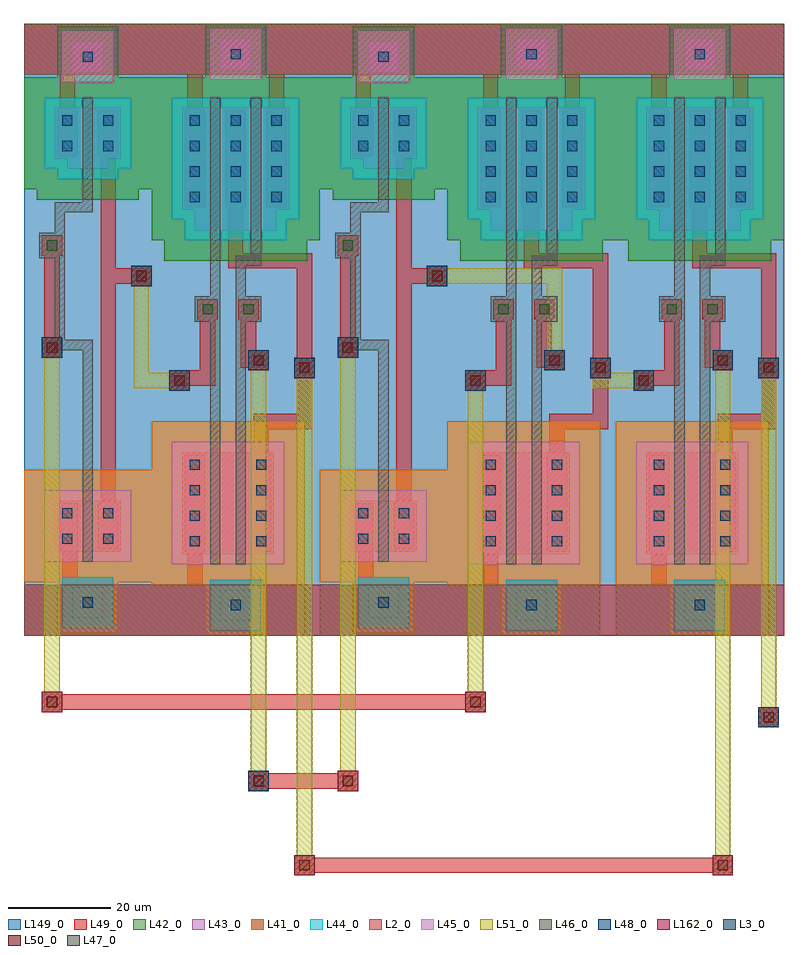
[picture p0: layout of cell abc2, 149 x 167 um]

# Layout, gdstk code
import gdstk
lib = gdstk.Library(unit=1e-6, precision=1e-09)
def R(c, l, rs):  # rectangles x0, y0, x1, y1
    for r in rs: c.add(gdstk.rectangle(r[:2], r[2:], *l))
def A(c, l, x, y, w, h, nx, ny, dx, dy):  # array of equal rectangles
    R(c, l, [(x+i*dx, y+j*dy, x+i*dx+w, y+j*dy+h) for i in range(nx) for j in range(ny)])
def P(c, l, *ps):  # polygons
    for p in ps: c.add(gdstk.Polygon(p, *l))
L2_0 = (2, 0)
L3_0 = (3, 0)
L41_0 = (41, 0)
L42_0 = (42, 0)
L43_0 = (43, 0)
L44_0 = (44, 0)
L45_0 = (45, 0)
L46_0 = (46, 0)
L47_0 = (47, 0)
L48_0 = (48, 0)
L49_0 = (49, 0)
L50_0 = (50, 0)
L51_0 = (51, 0)
L149_0 = (149, 0)
L162_0 = (162, 0)

via = lib.new_cell('via')
R(via, L49_0, [(-2,-2,2,2)])
R(via, L50_0, [(-1,-1,1,1)])
R(via, L51_0, [(-2,-2,2,2)])

nand2 = lib.new_cell('nand2')
R(nand2, L2_0, [(0,0,30,10), (0,110,33,120)])
R(nand2, L3_0, [(3.5,48,7.5,52), (28,50.5,32,54.5), (19,52,23,56)])
R(nand2, L41_0, [(10.5,0,22.5,12), (0,10,30,42)])
R(nand2, L42_0, [(10.5,108,22.5,120)])
P(nand2, L42_0, [(30.5,73.5),(30.5,77.5),(33,77.5),(33,109.5),(0,109.5),(0,77.5),(2.5,77.5),(2.5,73.5)])
R(nand2, L43_0, [(13.5,3,19.5,9), (6,16,11.5,36), (6,16,24,36), (18.5,16,24,36), (13.5,111,19.5,117)])
P(nand2, L43_0, [(11.5,79.5),(11.5,103.5),(6,103.5),(6,83.5),(8.5,83.5),(8.5,79.5)],
  [(24.5,79.5),(24.5,83.5),(27,83.5),(27,103.5),(6,103.5),(6,83.5),(8.5,83.5),(8.5,79.5)],
  [(24.5,79.5),(24.5,83.5),(27,83.5),(27,103.5),(21.5,103.5),(21.5,79.5)])
R(nand2, L44_0, [(11.5,1,21.5,11)])
P(nand2, L44_0, [(26.5,77.5),(26.5,81.5),(29,81.5),(29,105.5),(4,105.5),(4,81.5),(6.5,81.5),(6.5,77.5)])
R(nand2, L45_0, [(4,14,26,38), (11.5,109,21.5,119)])
R(nand2, L46_0, [(11.5,14,13.5,16), (16.5,14,18.5,16), (11.5,16,13.5,36), (16.5,16,18.5,36), (11.5,36,13.5,38), (16.5,36,18.5,38), (8.5,61.5,13.5,66.5), (16.5,61.5,21.5,66.5), (11.5,77.5,13.5,79.5), (19.5,77.5,21.5,79.5), (11.5,79.5,13.5,103.5), (19.5,79.5,21.5,103.5), (11.5,103.5,13.5,105.5), (19.5,103.5,21.5,105.5)])
R(nand2, L47_0, [(10,63,12,65), (18,63,20,65)])
A(nand2, L48_0, 7.5, 17.5, 2, 2, 1, 4, 0, 5)
A(nand2, L48_0, 20.5, 17.5, 2, 2, 1, 4, 0, 5)
A(nand2, L48_0, 7.5, 85, 2, 2, 3, 4, 8, 5)
R(nand2, L48_0, [(15.5,5,17.5,7), (15.5,113,17.5,115)])
A(nand2, L49_0, 6.5, 84, 4, 19, 3, 1, 8, 0)
R(nand2, L49_0, [(0,0,30,10), (14.5,4,18.5,8), (6.5,16.5,10.5,35.5), (19.5,16.5,23.5,35.5), (9,62,13,66), (17,62,21,66), (23,99,26,116.5), (7,100,10,116.5), (0,110,33,120), (14.5,112,18.5,116)])
R(nand2, L149_0, [(0,0,30,10), (0,0,33,120), (14.5,4,18.5,8), (9,62,13,66), (17,62,21,66), (23,99,26,116.5), (7,100,10,116.5), (0,110,33,120), (14.5,112,18.5,116)])
R(nand2, L162_0, [(3.5,48,7.5,52), (28,50.5,32,54.5), (19,52,23,56)])
nand2.add(gdstk.FlexPath([(8.5,18),(8.5,5)], 3, ends="extended", simple_path=True, layer=149, datatype=0))  # L149_0
nand2.add(gdstk.FlexPath([(21.5,39.5),(21.5,32.5)], 3, ends="extended", simple_path=True, layer=149, datatype=0))  # L149_0
nand2.add(gdstk.FlexPath([(11,64),(11,50.5),(5.5,50.5)], 3, ends="extended", simple_path=True, layer=149, datatype=0))  # L149_0
nand2.add(gdstk.FlexPath([(19,64),(19,54)], 3, ends="extended", simple_path=True, layer=149, datatype=0))  # L149_0
nand2.add(gdstk.FlexPath([(16.5,85.5),(16.5,73.5),(30,73.5),(30,42),(21.5,42),(21.5,37.5)], 3, ends="extended", simple_path=True, layer=149, datatype=0))  # L149_0
nand2.add(gdstk.FlexPath([(8.5,18),(8.5,5)], 3, ends="extended", simple_path=True, layer=49, datatype=0))  # L49_0
nand2.add(gdstk.FlexPath([(21.5,39.5),(21.5,32.5)], 3, ends="extended", simple_path=True, layer=49, datatype=0))  # L49_0
nand2.add(gdstk.FlexPath([(11,64),(11,50.5),(5.5,50.5)], 3, ends="extended", simple_path=True, layer=49, datatype=0))  # L49_0
nand2.add(gdstk.FlexPath([(19,64),(19,54)], 3, ends="extended", simple_path=True, layer=49, datatype=0))  # L49_0
nand2.add(gdstk.FlexPath([(16.5,85.5),(16.5,73.5),(30,73.5),(30,42),(21.5,42),(21.5,37.5)], 3, ends="extended", simple_path=True, layer=49, datatype=0))  # L49_0
nand2.add(gdstk.FlexPath([(12.5,43),(12.5,79.5)], 2, ends="extended", simple_path=True, layer=46, datatype=0))  # L46_0
nand2.add(gdstk.FlexPath([(17.5,43),(17.5,73.5),(20.5,73.5),(20.5,79)], 2, ends="extended", simple_path=True, layer=46, datatype=0))  # L46_0
nand2.add(gdstk.FlexPath([(12.5,44),(12.5,37)], 2, ends="extended", simple_path=True, layer=46, datatype=0))  # L46_0
nand2.add(gdstk.FlexPath([(17.5,44),(17.5,37)], 2, ends="extended", simple_path=True, layer=46, datatype=0))  # L46_0
nand2.add(gdstk.Reference(via, (5.5,50)))
nand2.add(gdstk.Reference(via, (30,52.5)))
nand2.add(gdstk.Reference(via, (21,54)))

inv1 = lib.new_cell('inv1')
R(inv1, L2_0, [(0,0,25,10), (0,110,25,120)])
R(inv1, L3_0, [(3.5,54.5,7.5,58.5), (21,68.5,25,72.5)])
R(inv1, L41_0, [(6.5,0.5,18.5,12.5), (0,10.5,25,32.5)])
R(inv1, L42_0, [(6.5,107.5,18.5,119.5)])
P(inv1, L42_0, [(22.5,85.5),(22.5,87.5),(25,87.5),(25,109.5),(0,109.5),(0,87.5),(2.5,87.5),(2.5,85.5)])
R(inv1, L43_0, [(9.5,3.5,15.5,9.5), (6,16.5,11.5,26.5), (6,16.5,19,26.5), (13.5,16.5,19,26.5), (9.5,110.5,15.5,116.5)])
P(inv1, L43_0, [(11.5,91.5),(11.5,103.5),(6,103.5),(6,93.5),(8.5,93.5),(8.5,91.5)],
  [(16.5,91.5),(16.5,93.5),(19,93.5),(19,103.5),(13.5,103.5),(13.5,91.5)],
  [(16.5,91.5),(16.5,93.5),(19,93.5),(19,103.5),(6,103.5),(6,93.5),(8.5,93.5),(8.5,91.5)])
R(inv1, L44_0, [(7.5,1.5,17.5,11.5)])
P(inv1, L44_0, [(18.5,89.5),(18.5,91.5),(21,91.5),(21,105.5),(4,105.5),(4,91.5),(6.5,91.5),(6.5,89.5)])
R(inv1, L45_0, [(4,14.5,21,28.5), (7.5,108.5,17.5,118.5)])
R(inv1, L46_0, [(11.5,14.5,13.5,16.5), (11.5,16.5,13.5,26.5), (11.5,26.5,13.5,28.5), (3,74,8,79), (11.5,89.5,13.5,91.5), (11.5,91.5,13.5,103.5), (11.5,103.5,13.5,105.5)])
R(inv1, L47_0, [(4.5,75.5,6.5,77.5)])
R(inv1, L48_0, [(11.5,5.5,13.5,7.5), (7.5,18,9.5,20), (15.5,18,17.5,20), (7.5,23,9.5,25), (15.5,23,17.5,25), (7.5,95,9.5,97), (15.5,95,17.5,97), (7.5,100,9.5,102), (15.5,100,17.5,102), (11.5,112.5,13.5,114.5)])
R(inv1, L49_0, [(0,0,25,10), (10.5,4.5,14.5,8.5), (7.5,5.5,10.5,20), (6.5,17,10.5,26), (14.5,17,18.5,26), (3.5,74.5,7.5,78.5), (6.5,94,10.5,103), (14.5,94,18.5,103), (7,99.5,10,114), (0,110,25,120), (10.5,111.5,14.5,115.5)])
R(inv1, L149_0, [(0,0,25,10), (0,0,25,120), (10.5,4.5,14.5,8.5), (7.5,5.5,10.5,20), (3.5,74.5,7.5,78.5), (7,99.5,10,114), (0,110,25,120), (10.5,111.5,14.5,115.5)])
R(inv1, L162_0, [(3.5,54.5,7.5,58.5), (21,68.5,25,72.5)])
inv1.add(gdstk.FlexPath([(16.5,70.5),(23,70.5)], 3, ends="extended", simple_path=True, layer=149, datatype=0))  # L149_0
inv1.add(gdstk.FlexPath([(16.5,43),(16.5,23.5)], 3, ends="extended", simple_path=True, layer=149, datatype=0))  # L149_0
inv1.add(gdstk.FlexPath([(16.5,100.5),(16.5,43)], 3, ends="extended", simple_path=True, layer=149, datatype=0))  # L149_0
inv1.add(gdstk.FlexPath([(5.5,56.5),(5.5,76.5)], 3, ends="extended", simple_path=True, layer=149, datatype=0))  # L149_0
inv1.add(gdstk.FlexPath([(12.5,92.5),(12.5,84),(7,84),(7,57),(12.5,57),(12.5,49)], 2, ends="flush", simple_path=True, layer=46, datatype=0))  # L46_0
inv1.add(gdstk.FlexPath([(12.5,49.5),(12.5,27.5)], 2, ends="flush", simple_path=True, layer=46, datatype=0))  # L46_0
inv1.add(gdstk.FlexPath([(16.5,70.5),(23,70.5)], 3, ends="extended", simple_path=True, layer=49, datatype=0))  # L49_0
inv1.add(gdstk.FlexPath([(16.5,43),(16.5,23.5)], 3, ends="extended", simple_path=True, layer=49, datatype=0))  # L49_0
inv1.add(gdstk.FlexPath([(16.5,100.5),(16.5,43)], 3, ends="extended", simple_path=True, layer=49, datatype=0))  # L49_0
inv1.add(gdstk.FlexPath([(5.5,56.5),(5.5,76.5)], 3, ends="extended", simple_path=True, layer=49, datatype=0))  # L49_0
inv1.add(gdstk.Reference(via, (23,70.5)))
inv1.add(gdstk.Reference(via, (5.5,56.5)))

abc2 = lib.new_cell('abc2')
R(abc2, L3_0, [(44,-30.5,48,-26.5), (144,-18,148,-14)])
R(abc2, L49_0, [(4,-14.5,7,-11.5), (0,0,149,10), (0,110,149,120)])
R(abc2, L162_0, [(53,-47,57,-43), (135,-47,139,-43), (44,-30.5,48,-26.5), (61.5,-30.5,65.5,-26.5), (144,-18,148,-14), (3.5,-15,7.5,-11), (86.5,-15,90.5,-11)])
abc2.add(gdstk.FlexPath([(46,54),(46,-28.5)], 3, ends="extended", simple_path=True, layer=51, datatype=0))  # L51_0
abc2.add(gdstk.FlexPath([(146,-16),(146,52.5)], 3, ends="extended", simple_path=True, layer=51, datatype=0))  # L51_0
abc2.add(gdstk.FlexPath([(137,54),(137,-45)], 3, ends="extended", simple_path=True, layer=51, datatype=0))  # L51_0
abc2.add(gdstk.FlexPath([(55,52.5),(55,-45)], 3, ends="extended", simple_path=True, layer=51, datatype=0))  # L51_0
abc2.add(gdstk.FlexPath([(104,56),(104,70.5)], 3, ends="extended", simple_path=True, layer=51, datatype=0))  # L51_0
abc2.add(gdstk.FlexPath([(104,70.5),(83,70.5)], 3, ends="extended", simple_path=True, layer=51, datatype=0))  # L51_0
abc2.add(gdstk.FlexPath([(119.5,50),(113,50)], 3, ends="extended", simple_path=True, layer=51, datatype=0))  # L51_0
abc2.add(gdstk.FlexPath([(113,50),(113,50.5)], 3, ends="extended", simple_path=True, layer=51, datatype=0))  # L51_0
abc2.add(gdstk.FlexPath([(5.5,56.5),(5.5,-13)], 3, ends="extended", simple_path=True, layer=51, datatype=0))  # L51_0
abc2.add(gdstk.FlexPath([(88.5,50),(88.5,-12.5)], 3, ends="extended", simple_path=True, layer=51, datatype=0))  # L51_0
abc2.add(gdstk.FlexPath([(23,50),(23,68.5)], 3, ends="extended", simple_path=True, layer=51, datatype=0))  # L51_0
abc2.add(gdstk.FlexPath([(28.5,50),(23,50)], 3, ends="extended", simple_path=True, layer=51, datatype=0))  # L51_0
abc2.add(gdstk.FlexPath([(63.5,56.5),(63.5,-28.5)], 3, ends="extended", simple_path=True, layer=51, datatype=0))  # L51_0
abc2.add(gdstk.FlexPath([(55,-45),(137,-45)], 3, ends="extended", simple_path=True, layer=49, datatype=0))  # L49_0
abc2.add(gdstk.FlexPath([(5,-13),(88.5,-13)], 3, ends="extended", simple_path=True, layer=49, datatype=0))  # L49_0
abc2.add(gdstk.FlexPath([(46,-28.5),(63.5,-28.5)], 3, ends="extended", simple_path=True, layer=49, datatype=0))  # L49_0
abc2.add(gdstk.Reference(via, (55,-45)))
abc2.add(gdstk.Reference(nand2, (25,0)))
abc2.add(gdstk.Reference(via, (146,-16)))
abc2.add(gdstk.Reference(nand2, (83,0)))
abc2.add(gdstk.Reference(nand2, (116,0)))
abc2.add(gdstk.Reference(inv1, (0,0)))
abc2.add(gdstk.Reference(inv1, (58,0)))
abc2.add(gdstk.Reference(via, (88.5,-13)))
abc2.add(gdstk.Reference(via, (46,-28.5)))
abc2.add(gdstk.Reference(via, (137,-45)))
abc2.add(gdstk.Reference(via, (5.5,-13)))
abc2.add(gdstk.Reference(via, (63.5,-28.5)))

lib.write_gds('abc2.gds')
